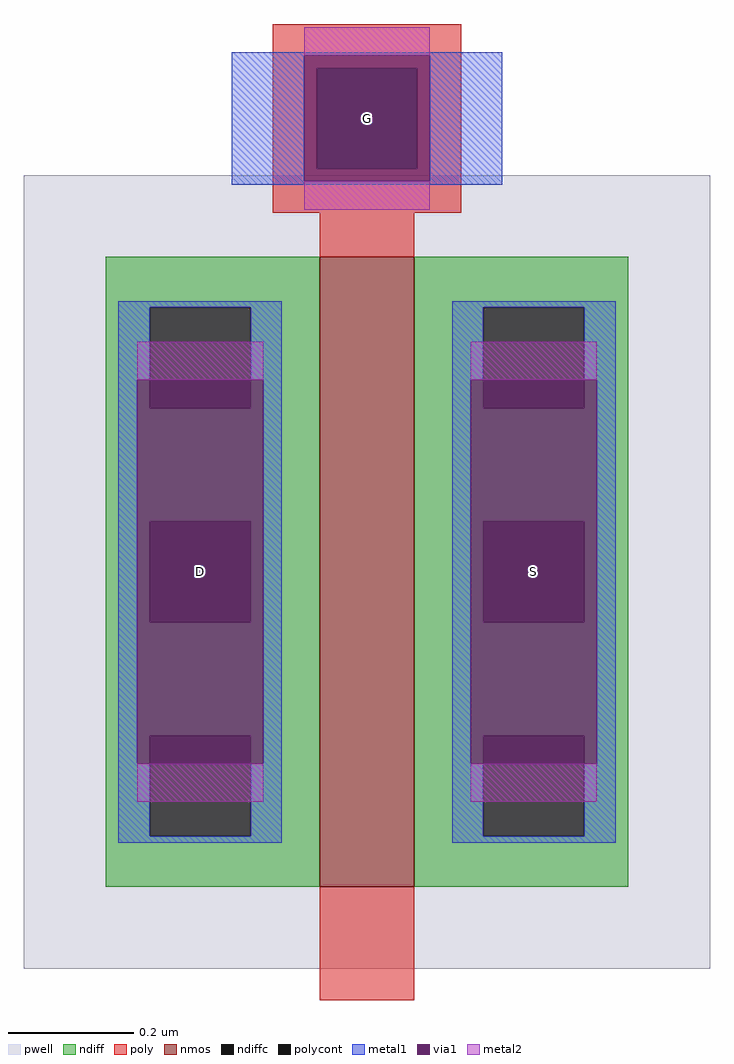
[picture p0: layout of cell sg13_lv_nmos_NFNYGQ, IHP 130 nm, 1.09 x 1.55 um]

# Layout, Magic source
magic
tech ihp-sg13g2
magscale 1 2
<< pwell >>
rect -109 -145 109 107
<< nmos >>
rect -15 -119 15 81
<< ndiff >>
rect -83 65 -15 81
rect -83 33 -69 65
rect -37 33 -15 65
rect -83 -3 -15 33
rect -83 -35 -69 -3
rect -37 -35 -15 -3
rect -83 -71 -15 -35
rect -83 -103 -69 -71
rect -37 -103 -15 -71
rect -83 -119 -15 -103
rect 15 65 83 81
rect 15 33 37 65
rect 69 33 83 65
rect 15 -3 83 33
rect 15 -35 37 -3
rect 69 -35 83 -3
rect 15 -71 83 -35
rect 15 -103 37 -71
rect 69 -103 83 -71
rect 15 -119 83 -103
<< ndiffc >>
rect -69 33 -37 65
rect -69 -35 -37 -3
rect -69 -103 -37 -71
rect 37 33 69 65
rect 37 -35 69 -3
rect 37 -103 69 -71
<< poly >>
rect -30 141 30 155
rect -30 109 -16 141
rect 16 109 30 141
rect -30 95 30 109
rect -15 81 15 95
rect -15 -155 15 -119
<< polycont >>
rect -16 109 16 141
<< metal1 >>
rect -43 145 43 146
rect -43 105 -20 145
rect 20 105 43 145
rect -43 104 43 105
rect -79 65 -27 67
rect -79 42 -69 65
rect -37 42 -27 65
rect -79 -80 -73 42
rect -33 -80 -27 42
rect -79 -103 -69 -80
rect -37 -103 -27 -80
rect -79 -105 -27 -103
rect 27 65 79 67
rect 27 42 37 65
rect 69 42 79 65
rect 27 -80 33 42
rect 73 -80 79 42
rect 27 -103 37 -80
rect 69 -103 79 -80
rect 27 -105 79 -103
<< via1 >>
rect -20 141 20 145
rect -20 109 -16 141
rect -16 109 16 141
rect 16 109 20 141
rect -20 105 20 109
rect -73 33 -69 42
rect -69 33 -37 42
rect -37 33 -33 42
rect -73 -3 -33 33
rect -73 -35 -69 -3
rect -69 -35 -37 -3
rect -37 -35 -33 -3
rect -73 -71 -33 -35
rect -73 -80 -69 -71
rect -69 -80 -37 -71
rect -37 -80 -33 -71
rect 33 33 37 42
rect 37 33 69 42
rect 69 33 73 42
rect 33 -3 73 33
rect 33 -35 37 -3
rect 37 -35 69 -3
rect 69 -35 73 -3
rect 33 -71 73 -35
rect 33 -80 37 -71
rect 37 -80 69 -71
rect 69 -80 73 -71
<< metal2 >>
rect -20 145 20 154
rect -20 96 20 105
rect -73 42 -33 54
rect -73 -92 -33 -80
rect 33 42 73 54
rect 33 -92 73 -80
<< labels >>
rlabel metal1 s -53 -19 -53 -19 4 D
rlabel metal1 s 53 -19 53 -19 4 S
rlabel metal1 s 0 125 0 125 4 G
<< end >>
